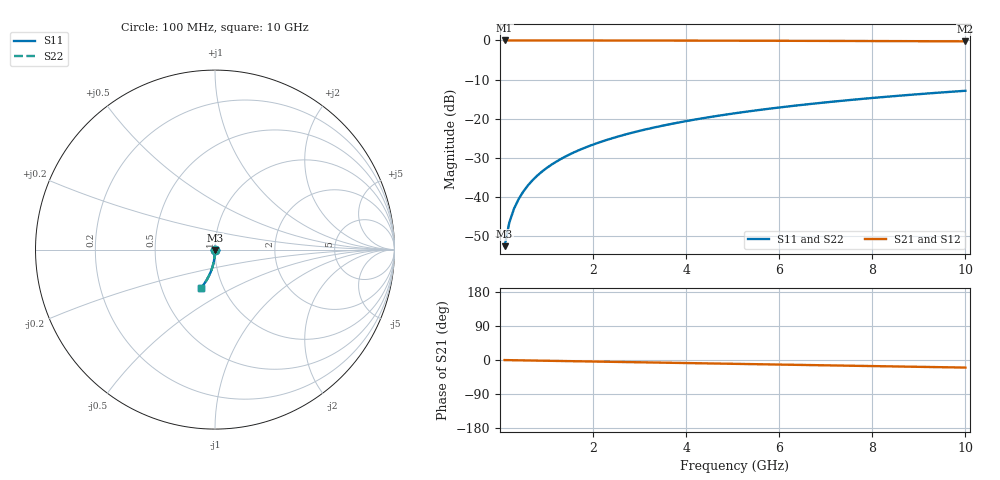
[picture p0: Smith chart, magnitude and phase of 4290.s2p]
# Hz S RI R 50.00
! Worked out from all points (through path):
!   100 points, 100 MHz to 10 GHz, reference 50 ohm
!   highest |S21| = 0.00 dB at 100 MHz (marker M1); lowest = -0.2 dB at 10 GHz (marker M2)
!   group delay of S21, straight-line fit = 5.56 ps
!   lowest |S11| = -52.7 dB at 100 MHz (marker M3), VSWR 1.00, Z = 50 - j0.232 ohm
!   |S11| at or under -10 dB: start of sweep to end of sweep
!   |S22| runs from -52.7 to -12.9 dB; largest |S21 - S12| = 0
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1e8  0.000154 -0.00232  0.9998 -0.00349  0.9998 -0.00349  0.000154 -0.00232
2e8  0.000128 -0.00464  0.9998 -0.00699  0.9998 -0.00699  0.000128 -0.00464
3e8  8.59e-05 -0.00696  0.9997 -0.0105  0.9997 -0.0105  8.59e-05 -0.00696
4e8  2.7e-05 -0.00928  0.9997 -0.014  0.9997 -0.014  2.7e-05 -0.00928
5e8  -4.81e-05 -0.0116  0.9996 -0.0175  0.9996 -0.0175  -4.81e-05 -0.0116
6e8  -0.00014 -0.0139  0.9995 -0.021  0.9995 -0.021  -0.00014 -0.0139
7e8  -0.000247 -0.0162  0.9994 -0.0245  0.9994 -0.0245  -0.000247 -0.0162
8e8  -0.000371 -0.0186  0.9992 -0.028  0.9992 -0.028  -0.000371 -0.0186
9e8  -0.000512 -0.0209  0.9991 -0.0314  0.9991 -0.0314  -0.000512 -0.0209
1.1e9  -0.000841 -0.0255  0.9987 -0.0384  0.9987 -0.0384  -0.000841 -0.0255
1.4e9  -0.00146 -0.0324  0.9981 -0.0489  0.9981 -0.0489  -0.00146 -0.0324
1.8e9  -0.00251 -0.0417  0.9969 -0.0629  0.9969 -0.0629  -0.00251 -0.0417
2.1e9  -0.00346 -0.0486  0.9959 -0.0733  0.9959 -0.0733  -0.00346 -0.0486
2.5e9  -0.00496 -0.0578  0.9942 -0.0872  0.9942 -0.0872  -0.00496 -0.0578
2.9e9  -0.00673 -0.0669  0.9923 -0.1011  0.9923 -0.1011  -0.00673 -0.0669
3.4e9  -0.00929 -0.0783  0.9896 -0.1184  0.9896 -0.1184  -0.00929 -0.0783
4.2e9  -0.0142 -0.0963  0.9842 -0.1459  0.9842 -0.1459  -0.0142 -0.0963
5.1e9  -0.0209 -0.1162  0.9769 -0.1765  0.9769 -0.1765  -0.0209 -0.1162
5.9e9  -0.028 -0.1334  0.9692 -0.2033  0.9692 -0.2033  -0.028 -0.1334
6.7e9  -0.0359 -0.1502  0.9606 -0.2297  0.9606 -0.2297  -0.0359 -0.1502
8.4e9  -0.0557 -0.184  0.9389 -0.2841  0.9389 -0.2841  -0.0557 -0.184
1e10  -0.0776 -0.2131  0.9148 -0.3328  0.9148 -0.3328  -0.0776 -0.2131
